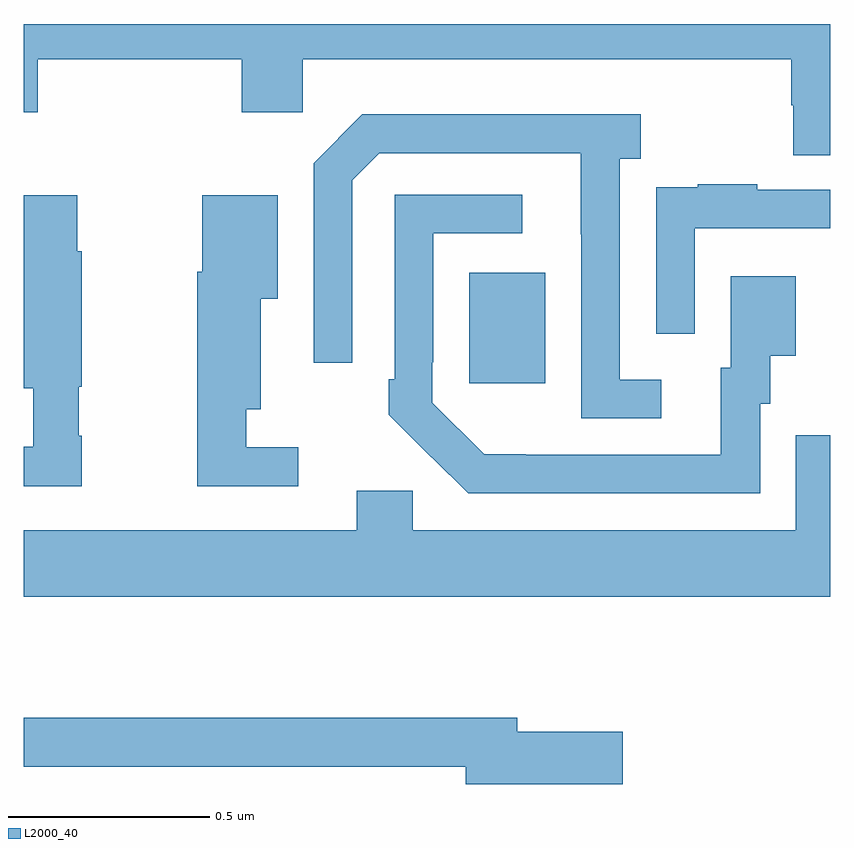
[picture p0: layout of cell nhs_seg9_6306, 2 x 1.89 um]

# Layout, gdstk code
import gdstk
lib = gdstk.Library(unit=1e-6, precision=1e-09)
def R(c, l, rs):  # rectangles x0, y0, x1, y1
    for r in rs: c.add(gdstk.rectangle(r[:2], r[2:], *l))
def P(c, l, *ps):  # polygons
    for p in ps: c.add(gdstk.Polygon(p, *l))
L2000_40 = (2000, 40)

nhs_seg9_6306 = lib.new_cell('nhs_seg9_6306')
R(nhs_seg9_6306, L2000_40, [(191.105,1203.609,191.293,1203.883)])
P(nhs_seg9_6306, L2000_40, [(192,1204.5),(190,1204.5),(190,1204.281),(190.034,1204.281),(190.034,1204.412),(190.541,1204.412),(190.541,1204.281),(190.692,1204.281),(190.692,1204.412),(191.903,1204.412),(191.903,1204.299),(191.908,1204.299),(191.908,1204.174),(192,1204.174)],
  [(191.581,1203.618),(191.478,1203.618),(191.478,1204.166),(191.53,1204.166),(191.53,1204.276),(190.84,1204.276),(190.719,1204.155),(190.719,1203.66),(190.815,1203.66),(190.815,1204.113),(190.881,1204.179),(191.381,1204.179),(191.381,1203.979),(191.382,1203.979),(191.382,1203.522),(191.581,1203.522)],
  [(191.664,1203.993),(192,1203.993),(192,1204.089),(191.819,1204.089),(191.819,1204.102),(191.671,1204.102),(191.671,1204.095),(191.569,1204.095),(191.569,1203.986),(191.568,1203.986),(191.568,1203.732),(191.664,1203.732)],
  [(191.826,1203.558),(191.851,1203.558),(191.851,1203.677),(191.914,1203.677),(191.914,1203.874),(191.753,1203.874),(191.753,1203.648),(191.729,1203.648),(191.729,1203.432),(191.245,1203.432),(191.245,1203.433),(191.142,1203.433),(191.013,1203.561),(191.013,1203.661),(191.016,1203.661),(191.016,1203.981),(191.236,1203.981),(191.236,1204.077),(190.92,1204.077),(190.92,1203.619),(190.905,1203.619),(190.905,1203.531),(191.01,1203.426),(191.011,1203.427),(191.102,1203.336),(191.826,1203.336)],
  [(190.144,1203.479),(190.136,1203.479),(190.136,1203.6),(190.144,1203.6),(190.144,1203.936),(190.132,1203.936),(190.132,1204.075),(190,1204.075),(190,1203.596),(190.023,1203.596),(190.023,1203.451),(190,1203.451),(190,1203.354),(190.144,1203.354)],
  [(190.681,1203.45),(190.552,1203.45),(190.552,1203.545),(190.588,1203.545),(190.588,1203.818),(190.63,1203.818),(190.63,1204.075),(190.442,1204.075),(190.442,1203.885),(190.43,1203.885),(190.43,1203.354),(190.681,1203.354)],
  [(192,1203.48),(191.915,1203.48),(191.915,1203.244),(190.965,1203.244),(190.965,1203.342),(190.826,1203.342),(190.826,1203.244),(190,1203.244),(190,1203.08),(192,1203.08)],
  [(191.485,1202.745),(191.224,1202.745),(191.224,1202.779),(190,1202.779),(190,1202.658),(191.096,1202.658),(191.096,1202.615),(191.485,1202.615)])

lib.write_gds('nhs_seg9_6306.gds')
